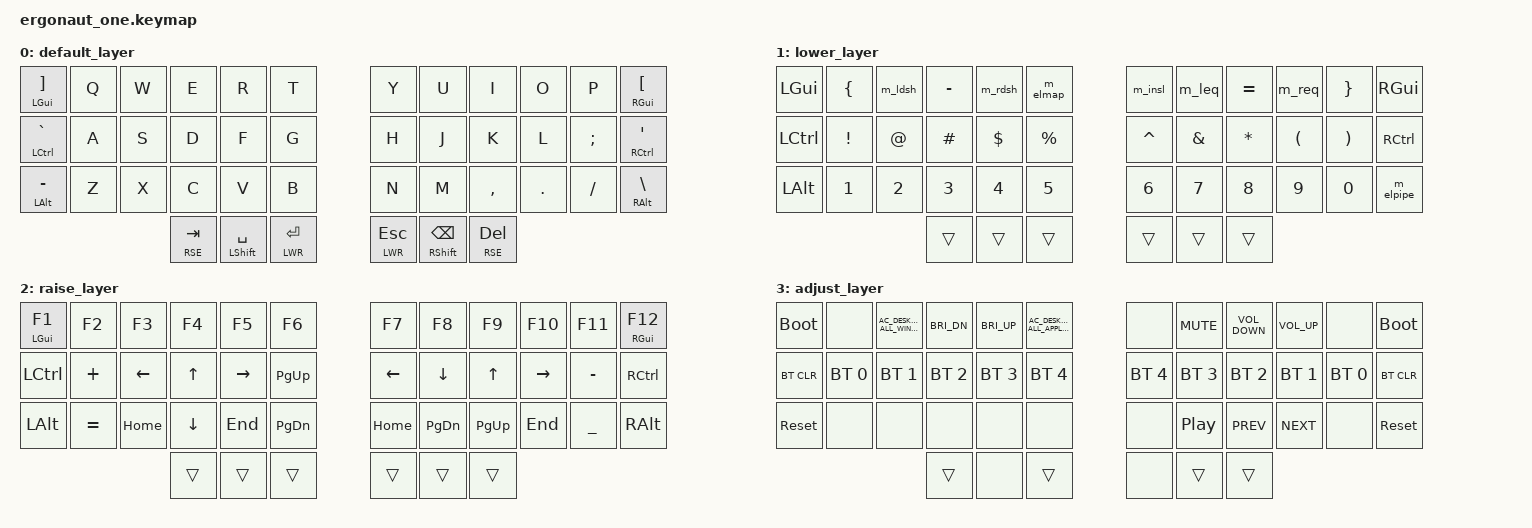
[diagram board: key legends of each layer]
#include <behaviors.dtsi>
#include <dt-bindings/zmk/bt.h>
#include <dt-bindings/zmk/keys.h>

#define DEF 0
#define LWR 1
#define RSE 2
#define ADJ 3

&lt { quick-tap-ms = <200>; };

&mt { quick-tap-ms = <200>; };

/ {
    conditional_layers {
        compatible = "zmk,conditional-layers";

        tri-layer {
            if-layers = <1 2>;
            then-layer = <3>;
        };
    };

    macros {
        m_elpipe: m_elpipe {
            compatible = "zmk,behavior-macro";
            #binding-cells = <0>;
            bindings = <&kp PIPE &kp GT &kp SPACE>;
            label = "M_ELPIPE";
        };

        m_insl: m_insl {
            compatible = "zmk,behavior-macro";
            #binding-cells = <0>;
            bindings = <&kp I &kp N &kp S &kp L>;
            label = "M_INSL";
        };

        m_leq: m_leq {
            compatible = "zmk,behavior-macro";
            #binding-cells = <0>;
            bindings = <&kp SPACE &kp LT &kp EQUAL &kp SPACE>;
            label = "Less Equal";
        };

        m_req: m_req {
            compatible = "zmk,behavior-macro";
            #binding-cells = <0>;
            bindings = <&kp SPACE &kp EQUAL &kp GT &kp SPACE>;
            label = "More Equal";
        };

        m_elmap: m_elmap {
            compatible = "zmk,behavior-macro";
            #binding-cells = <0>;
            bindings = <&kp PRCNT &kp LEFT_BRACE &kp SPACE>;
            label = "Elixir map";
        };

        m_ldsh: m_ldsh {
            compatible = "zmk,behavior-macro";
            #binding-cells = <0>;
            bindings = <&kp SPACE &kp LT &kp MINUS &kp SPACE>;
            label = "Left Arrow";
        };

        m_rdsh: m_rdsh {
            compatible = "zmk,behavior-macro";
            #binding-cells = <0>;
            bindings = <&kp SPACE &kp MINUS &kp GT &kp SPACE>;
            label = "Right Arrow";
        };
    };

    keymap {
        compatible = "zmk,keymap";

        default_layer {
            bindings = <
&mt LGUI RBKT    &kp Q  &kp W  &kp E        &kp R            &kp T        &kp Y        &kp U           &kp I           &kp O    &kp P     &mt RGUI LBKT
&mt LCTRL GRAVE  &kp A  &kp S  &kp D        &kp F            &kp G        &kp H        &kp J           &kp K           &kp L    &kp SEMI  &mt RCTRL SQT
&mt LALT MINUS   &kp Z  &kp X  &kp C        &kp V            &kp B        &kp N        &kp M           &kp COMMA       &kp DOT  &kp FSLH  &mt RALT BSLH
                               &lt RSE TAB  &mt LSHFT SPACE  &lt LWR RET  &lt LWR ESC  &mt RSHFT BSPC  &lt RSE DELETE
            >;
        };

        lower_layer {
            bindings = <
&kp LGUI   &kp LEFT_BRACE  &m_ldsh  &kp MINUS  &m_rdsh   &m_elmap   &m_insl    &m_leq    &kp EQUAL  &m_req    &kp RIGHT_BRACE  &kp RGUI
&kp LCTRL  &kp EXCL        &kp AT   &kp HASH   &kp DLLR  &kp PRCNT  &kp CARET  &kp AMPS  &kp STAR   &kp LPAR  &kp RPAR         &kp RCTRL
&kp LALT   &kp N1          &kp N2   &kp N3     &kp N4    &kp N5     &kp N6     &kp N7    &kp N8     &kp N9    &kp N0           &m_elpipe
                                    &trans     &trans    &trans     &trans     &trans    &trans
            >;
        };

        raise_layer {
            bindings = <
&mt LGUI F1  &kp F2     &kp F3    &kp F4    &kp F5     &kp F6         &kp F7    &kp F8         &kp F9       &kp F10    &kp F11    &mt RGUI F12
&kp LCTRL    &kp PLUS   &kp LEFT  &kp UP    &kp RIGHT  &kp PAGE_UP    &kp LEFT  &kp DOWN       &kp UP       &kp RIGHT  &kp MINUS  &kp RCTRL
&kp LALT     &kp EQUAL  &kp HOME  &kp DOWN  &kp END    &kp PAGE_DOWN  &kp HOME  &kp PAGE_DOWN  &kp PAGE_UP  &kp END    &kp UNDER  &kp RALT
                                  &trans    &trans     &trans         &trans    &trans         &trans
            >;
        };

        adjust_layer {
            bindings = <
&bootloader  &none         &kp C_AC_DESKTOP_SHOW_ALL_WINDOWS  &kp C_BRI_DN  &kp C_BRI_UP  &kp C_AC_DESKTOP_SHOW_ALL_APPLICATIONS  &none         &kp C_MUTE        &kp C_VOLUME_DOWN  &kp C_VOLUME_UP  &none         &bootloader
&bt BT_CLR   &bt BT_SEL 0  &bt BT_SEL 1                       &bt BT_SEL 2  &bt BT_SEL 3  &bt BT_SEL 4                            &bt BT_SEL 4  &bt BT_SEL 3      &bt BT_SEL 2       &bt BT_SEL 1     &bt BT_SEL 0  &bt BT_CLR
&sys_reset   &none         &none                              &none         &none         &none                                   &none         &kp C_PLAY_PAUSE  &kp C_PREV         &kp C_NEXT       &none         &sys_reset
                                                              &trans        &none         &trans                                  &none         &trans            &trans
            >;
        };
    };
};
